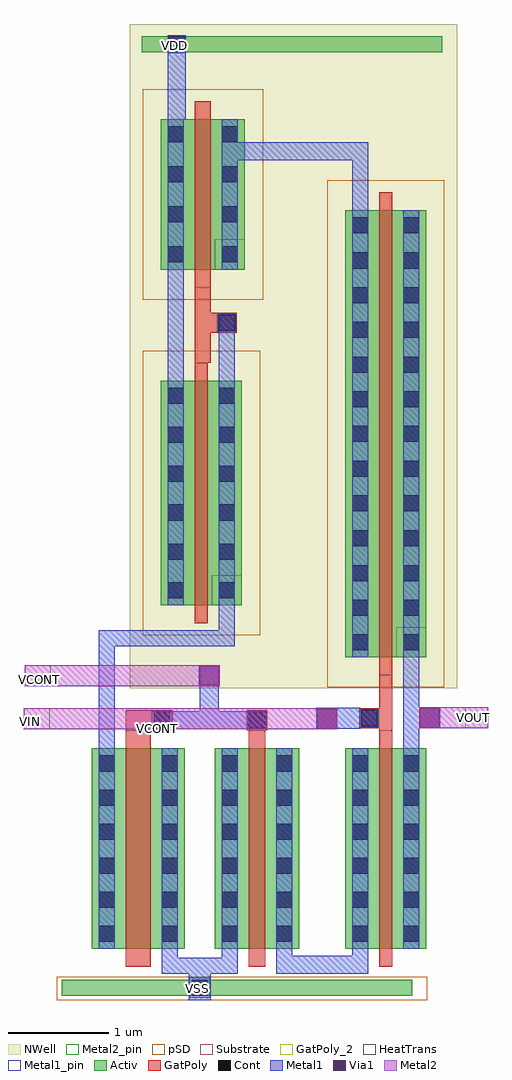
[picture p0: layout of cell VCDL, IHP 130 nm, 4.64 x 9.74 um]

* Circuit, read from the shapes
.subckt VCDL VCONT VDD VIN VOUT VSS
XM1 VSS VCONT n1 VSS sg13_lv_nmos w=2u l=0.25u
XM2 n2 VCONT VSS VSS sg13_lv_nmos w=2u l=0.16u
XM3 VOUT VIN n2 VSS sg13_lv_nmos w=2u l=0.13u
XM4 n1 n1 VDD VDD sg13_lv_pmos w=2.24u l=0.13u
XM5 n3 n1 VDD VDD sg13_lv_pmos w=1.5u l=0.16u
XM6 VOUT VIN n3 VDD sg13_lv_pmos w=4.46u l=0.13u
.ends

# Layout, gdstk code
import gdstk
lib = gdstk.Library(unit=1e-6, precision=1e-09)
def R(c, l, rs):  # rectangles x0, y0, x1, y1
    for r in rs: c.add(gdstk.rectangle(r[:2], r[2:], *l))
def A(c, l, x, y, w, h, nx, ny, dx, dy):  # array of equal rectangles
    R(c, l, [(x+i*dx, y+j*dy, x+i*dx+w, y+j*dy+h) for i in range(nx) for j in range(ny)])
def P(c, l, *ps):  # polygons
    for p in ps: c.add(gdstk.Polygon(p, *l))
Activ = (1, 0)
GatPoly = (5, 0)
GatPoly_2 = (5, 2)
Cont = (6, 0)
Metal1 = (8, 0)
Metal1_pin = (8, 2)
Metal2 = (10, 0)
Metal2_pin = (10, 2)
pSD = (14, 0)
Via1 = (19, 0)
NWell = (31, 0)
Substrate = (40, 0)
HeatTrans = (51, 0)

nmos_1 = lib.new_cell('nmos$1')
R(nmos_1, Activ, [(0,0,0.3,0.3), (0,0,0.84,2), (0.54,0,0.84,0.3)])
R(nmos_1, GatPoly, [(0.34,-0.18,0.5,2.18)])
R(nmos_1, GatPoly_2, [(0.34,-0.18,0.5,2.18)])
A(nmos_1, Cont, 0.07, 0.07, 0.16, 0.16, 1, 6, 0, 0.34)
A(nmos_1, Cont, 0.61, 0.07, 0.16, 0.16, 1, 6, 0, 0.34)
R(nmos_1, Metal1, [(0.07,0,0.23,2), (0.61,0,0.77,2)])
R(nmos_1, Metal1_pin, [(0.07,0,0.23,2), (0.61,0,0.77,2)])
R(nmos_1, HeatTrans, [(0.34,-0.18,0.5,2.18)])
nmos_1.add(gdstk.Label('nmos', (0.42,1), layer=63, texttype=0))
nmos_1.add(gdstk.Label('nmos', (0.42,1), layer=51, texttype=0))

nmos_2 = lib.new_cell('nmos$2')
R(nmos_2, Activ, [(0,0,0.3,0.3), (0,0,0.93,2), (0.63,0,0.93,0.3)])
R(nmos_2, GatPoly, [(0.34,-0.18,0.59,2.18)])
R(nmos_2, GatPoly_2, [(0.34,-0.18,0.59,2.18)])
A(nmos_2, Cont, 0.07, 0.07, 0.16, 0.16, 1, 6, 0, 0.34)
A(nmos_2, Cont, 0.7, 0.07, 0.16, 0.16, 1, 6, 0, 0.34)
R(nmos_2, Metal1, [(0.07,0,0.23,2), (0.7,0,0.86,2)])
R(nmos_2, Metal1_pin, [(0.07,0,0.23,2), (0.7,0,0.86,2)])
R(nmos_2, HeatTrans, [(0.34,-0.18,0.59,2.18)])
nmos_2.add(gdstk.Label('nmos', (0.465,1), layer=63, texttype=0))
nmos_2.add(gdstk.Label('nmos', (0.465,1), layer=51, texttype=0))

pmos_2 = lib.new_cell('pmos$2')
R(pmos_2, Activ, [(0,0,0.3,0.3), (0,0,0.81,2.24), (0.51,0,0.81,0.3)])
R(pmos_2, GatPoly, [(0.34,-0.18,0.47,2.42), (0.34,-0.18,0.47,2.42)])
A(pmos_2, Cont, 0.07, 1.23, 0.16, 0.16, 1, 3, 0, 0.39)
A(pmos_2, Cont, 0.58, 1.23, 0.16, 0.16, 1, 3, 0, 0.39)
R(pmos_2, Cont, [(0.07,0.07,0.23,0.23), (0.58,0.07,0.74,0.23), (0.07,0.455,0.23,0.615), (0.58,0.455,0.74,0.615), (0.07,0.845,0.23,1.005), (0.58,0.845,0.74,1.005)])
R(pmos_2, Metal1, [(0.07,0,0.23,2.24), (0.07,0,0.23,2.24), (0.58,0,0.74,2.24), (0.58,0,0.74,2.24)])
R(pmos_2, pSD, [(-0.18,-0.3,0.99,2.54)])
R(pmos_2, NWell, [(-0.31,-0.31,1.12,2.55)])
R(pmos_2, Substrate, [(0.51,0,0.81,0.3)])
R(pmos_2, HeatTrans, [(0.34,-0.18,0.47,2.42)])
pmos_2.add(gdstk.Label('pmos', (0.405,1.12), layer=63, texttype=0))
pmos_2.add(gdstk.Label('pmos', (0.405,1.12), layer=51, texttype=0))

pmos_1 = lib.new_cell('pmos$1')
R(pmos_1, Activ, [(0,0,0.3,0.3), (0,0,0.84,1.5), (0.54,0,0.84,0.3)])
R(pmos_1, GatPoly, [(0.34,-0.18,0.5,1.68), (0.34,-0.18,0.5,1.68)])
A(pmos_1, Cont, 0.07, 0.07, 0.16, 0.16, 1, 4, 0, 0.4)
A(pmos_1, Cont, 0.61, 0.07, 0.16, 0.16, 1, 4, 0, 0.4)
R(pmos_1, Metal1, [(0.07,0,0.23,1.5), (0.07,0,0.23,1.5), (0.61,0,0.77,1.5), (0.61,0,0.77,1.5)])
R(pmos_1, pSD, [(-0.18,-0.3,1.02,1.8)])
R(pmos_1, NWell, [(-0.31,-0.31,1.15,1.81)])
R(pmos_1, Substrate, [(0.54,0,0.84,0.3)])
R(pmos_1, HeatTrans, [(0.34,-0.18,0.5,1.68)])
pmos_1.add(gdstk.Label('pmos', (0.42,0.75), layer=63, texttype=0))
pmos_1.add(gdstk.Label('pmos', (0.42,0.75), layer=51, texttype=0))

pmos = lib.new_cell('pmos')
R(pmos, Activ, [(0,0,0.3,0.3), (0,0,0.81,4.46), (0.51,0,0.81,0.3)])
R(pmos, GatPoly, [(0.34,-0.18,0.47,4.64), (0.34,-0.18,0.47,4.64)])
A(pmos, Cont, 0.07, 0.07, 0.16, 0.16, 1, 3, 0, 0.345)
A(pmos, Cont, 0.58, 0.07, 0.16, 0.16, 1, 3, 0, 0.345)
A(pmos, Cont, 0.07, 1.11, 0.16, 0.16, 1, 3, 0, 0.345)
A(pmos, Cont, 0.58, 1.11, 0.16, 0.16, 1, 3, 0, 0.345)
A(pmos, Cont, 0.07, 2.15, 0.16, 0.16, 1, 3, 0, 0.345)
A(pmos, Cont, 0.58, 2.15, 0.16, 0.16, 1, 3, 0, 0.345)
A(pmos, Cont, 0.07, 3.19, 0.16, 0.16, 1, 3, 0, 0.345)
A(pmos, Cont, 0.58, 3.19, 0.16, 0.16, 1, 3, 0, 0.345)
R(pmos, Cont, [(0.07,4.23,0.23,4.39), (0.58,4.23,0.74,4.39)])
R(pmos, Metal1, [(0.07,0,0.23,4.46), (0.07,0,0.23,4.46), (0.58,0,0.74,4.46), (0.58,0,0.74,4.46)])
R(pmos, pSD, [(-0.18,-0.3,0.99,4.76)])
R(pmos, NWell, [(-0.31,-0.31,1.12,4.77)])
R(pmos, Substrate, [(0.51,0,0.81,0.3)])
R(pmos, HeatTrans, [(0.34,-0.18,0.47,4.64)])
pmos.add(gdstk.Label('pmos', (0.405,2.23), layer=63, texttype=0))
pmos.add(gdstk.Label('pmos', (0.405,2.23), layer=51, texttype=0))

nmos = lib.new_cell('nmos')
R(nmos, Activ, [(0,0,0.3,0.3), (0,0,0.81,2), (0.51,0,0.81,0.3)])
R(nmos, GatPoly, [(0.34,-0.18,0.47,2.18)])
R(nmos, GatPoly_2, [(0.34,-0.18,0.47,2.18)])
A(nmos, Cont, 0.07, 0.07, 0.16, 0.16, 1, 6, 0, 0.34)
A(nmos, Cont, 0.58, 0.07, 0.16, 0.16, 1, 6, 0, 0.34)
R(nmos, Metal1, [(0.07,0,0.23,2), (0.58,0,0.74,2)])
R(nmos, Metal1_pin, [(0.07,0,0.23,2), (0.58,0,0.74,2)])
R(nmos, HeatTrans, [(0.34,-0.18,0.47,2.18)])
nmos.add(gdstk.Label('nmos', (0.405,1), layer=63, texttype=0))
nmos.add(gdstk.Label('nmos', (0.405,1), layer=51, texttype=0))

vcdl = lib.new_cell('VCDL')
R(vcdl, Activ, [(-9.63,-8.27,-6.13,-8.11), (-8.83,1.15,-5.83,1.31)])
R(vcdl, GatPoly, [(-8.99,-5.62,-8.74,-5.42), (-8.74,-5.62,-8.52,-5.42), (-7.78,-5.62,-7.58,-5.42), (-6.46,-5.62,-6.33,-5.07), (-6.66,-5.6,-6.46,-5.4), (-8.3,-1.95,-8.14,-1.2), (-8.14,-1.65,-8.08,-1.45), (-8.08,-1.65,-7.88,-1.45)])
R(vcdl, GatPoly_2, [(-8.74,-5.62,-8.52,-5.42), (-7.78,-5.62,-7.58,-5.42), (-6.66,-5.6,-6.46,-5.4), (-8.08,-1.65,-7.88,-1.45)])
R(vcdl, Cont, [(-8.33,-8.27,-8.17,-8.11), (-8.71,-5.6,-8.55,-5.44), (-7.76,-5.6,-7.6,-5.44), (-6.64,-5.58,-6.48,-5.42), (-8.06,-1.63,-7.9,-1.47), (-8.56,1.15,-8.4,1.31)])
R(vcdl, Metal1, [(-8.36,-8.31,-8.14,-8.05), (-8.63,-8.05,-8.47,-7.8), (-8.47,-8.05,-8.03,-7.89), (-8.03,-8.05,-7.87,-7.8), (-7.49,-8.05,-7.33,-7.8), (-7.33,-8.05,-6.73,-7.87), (-6.73,-8.05,-6.57,-7.8), (-9.26,-5.8,-9.1,-4.78), (-6.22,-5.8,-6.06,-4.89), (-8.73,-5.61,-8.53,-5.43), (-8.73,-5.61,-7.59,-5.43), (-7.09,-5.605,-6.65,-5.395), (-6.06,-5.6,-5.85,-5.39), (-6.65,-5.59,-6.47,-5.41), (-8.25,-5.43,-8.06,-5.18), (-8.26,-5.18,-8.05,-4.97), (-9.26,-4.78,-8.06,-4.62), (-8.06,-4.78,-7.9,-4.37), (-8.57,-2.13,-8.41,-1.02), (-8.06,-2.13,-7.9,-1.64), (-8.07,-1.64,-7.89,-1.46), (-6.73,-0.43,-6.57,0.25), (-7.87,0.07,-6.73,0.25), (-8.57,0.48,-8.39,1.32)])
P(vcdl, Metal1, [(-6.51,-5.52),(-6.51,-5.52),(-6.51,-5.52),(-6.51,-5.52)])
R(vcdl, Metal1_pin, [(-8.35,-8.29,-8.15,-8.09), (-8.73,-5.61,-8.53,-5.43), (-7.77,-5.61,-7.59,-5.43), (-6.06,-5.6,-5.85,-5.39), (-6.65,-5.59,-6.47,-5.41), (-8.26,-5.18,-8.05,-4.97), (-8.07,-1.64,-7.89,-1.46), (-8.57,1.14,-8.39,1.32)])
R(vcdl, Metal2, [(-10.01,-5.61,-6.88,-5.4), (-6.06,-5.6,-5.37,-5.39), (-10,-5.18,-8.05,-4.97)])
R(vcdl, Metal2_pin, [(-10.01,-5.61,-9.75,-5.4), (-5.6,-5.6,-5.37,-5.39), (-10,-5.18,-9.74,-4.97), (-8.26,-5.18,-8.05,-4.97)])
R(vcdl, pSD, [(-9.68,-8.31,-5.98,-8.08)])
R(vcdl, Via1, [(-7.08,-5.6,-6.89,-5.41), (-6.05,-5.59,-5.86,-5.4), (-8.25,-5.17,-8.06,-4.98)])
R(vcdl, NWell, [(-8.95,-5.2,-7.11,-4.68), (-7.52,-4.68,-7.11,-1.82), (-8.95,-1.82,-7.11,-1.33), (-7.49,-1.33,-7.11,-0.12), (-7.49,-0.12,-5.68,1.43), (-8.95,0.79,-7.49,1.43)])
vcdl.add(gdstk.Reference(nmos_1, (-8.1,-7.8)))
vcdl.add(gdstk.Reference(nmos_2, (-9.33,-7.8)))
vcdl.add(gdstk.Reference(pmos_2, (-8.64,-4.37)))
vcdl.add(gdstk.Reference(pmos_1, (-8.64,-1.02)))
vcdl.add(gdstk.Reference(pmos, (-6.8,-4.89)))
vcdl.add(gdstk.Reference(nmos, (-6.8,-7.8)))
vcdl.add(gdstk.Label('VSS', (-8.27,-8.2), layer=8, texttype=2))
vcdl.add(gdstk.Label('VCONT', (-8.67,-5.6), layer=8, texttype=2))
vcdl.add(gdstk.Label('VDD', (-8.5,1.22), layer=8, texttype=2))
vcdl.add(gdstk.Label('VIN', (-9.94,-5.53), layer=10, texttype=2))
vcdl.add(gdstk.Label('VOUT', (-5.52,-5.49), layer=10, texttype=2))
vcdl.add(gdstk.Label('VCONT', (-9.85,-5.11), layer=10, texttype=2))

lib.write_gds('VCDL.gds')
